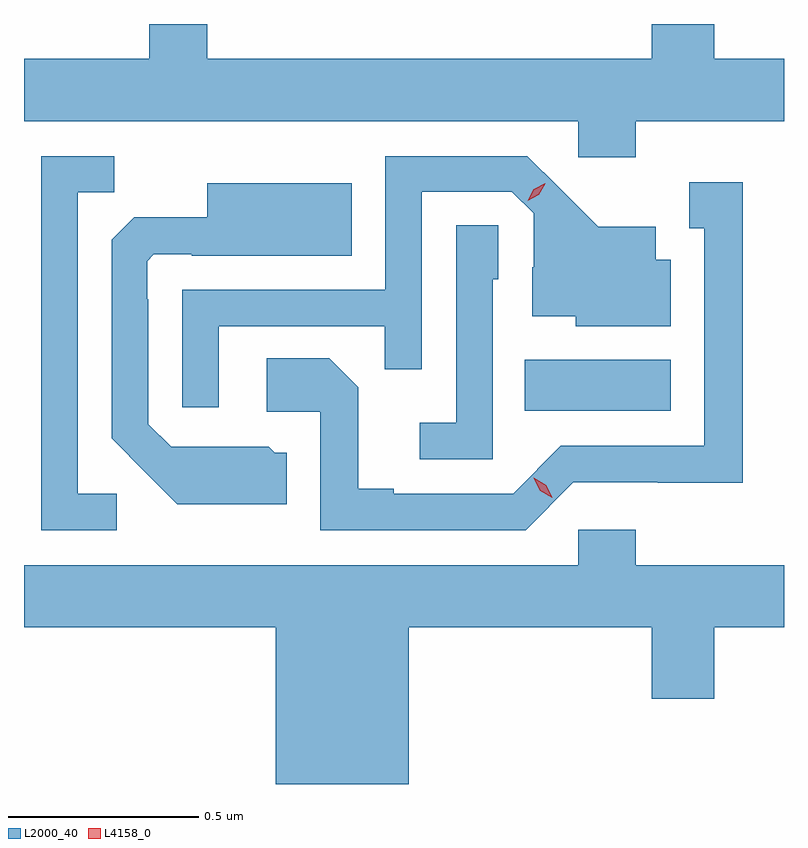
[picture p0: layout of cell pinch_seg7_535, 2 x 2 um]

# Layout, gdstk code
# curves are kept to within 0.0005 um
import gdstk
lib = gdstk.Library(unit=1e-6, precision=1e-09)
def R(c, l, rs):  # rectangles x0, y0, x1, y1
    for r in rs: c.add(gdstk.rectangle(r[:2], r[2:], *l))
def P(c, l, *ps):  # polygons
    for p in ps: c.add(gdstk.Polygon(p, *l))
L2000_40 = (2000, 40)
L4158_0 = (4158, 0)

pinch_seg7_535 = lib.new_cell('pinch_seg7_535')
R(pinch_seg7_535, L2000_40, [(116.722,1075.778,117.106,1075.912)])
P(pinch_seg7_535, L2000_40, [(117.014,1076.54),(117.404,1076.54),(117.404,1076.704),(117.22,1076.704),(117.22,1076.796),(117.056,1076.796),(117.056,1076.704),(115.886,1076.704),(115.886,1076.796),(115.734,1076.796),(115.734,1076.704),(115.404,1076.704),(115.404,1076.54),(116.862,1076.54),(116.862,1076.445),(117.014,1076.445)],
  [(115.917,1076.001),(116.353,1076.001),(116.353,1075.888),(116.451,1075.888),(116.451,1076.355),(116.688,1076.355),(116.745,1076.298),(116.745,1076.156),(116.741,1076.156),(116.741,1076.027),(116.856,1076.027),(116.856,1076),(117.106,1076),(117.106,1076.176),(117.067,1076.176),(117.067,1076.263),(116.915,1076.263),(116.728,1076.448),(116.355,1076.448),(116.355,1076.097),(115.821,1076.097),(115.821,1075.788),(115.917,1075.788)],
  [(115.648,1075.56),(115.545,1075.56),(115.545,1076.353),(115.641,1076.353),(115.641,1076.448),(115.449,1076.448),(115.449,1075.464),(115.648,1075.464)],
  [(116.85,1075.59),(117.072,1075.59),(117.072,1075.589),(117.295,1075.589),(117.295,1076.38),(117.155,1076.38),(117.155,1076.259),(117.194,1076.259),(117.194,1075.686),(116.817,1075.686),(116.691,1075.56),(116.377,1075.56),(116.377,1075.573),(116.283,1075.573),(116.283,1075.84),(116.207,1075.916),(116.043,1075.916),(116.043,1075.776),(116.184,1075.776),(116.184,1075.464),(116.724,1075.464)],
  [(116.095,1075.668),(116.064,1075.668),(116.048,1075.684),(115.914,1075.684),(115.914,1075.683),(115.791,1075.683),(115.731,1075.743),(115.731,1076.072),(115.728,1076.072),(115.728,1076.172),(115.746,1076.19),(115.846,1076.19),(115.846,1076.186),(116.266,1076.186),(116.266,1076.377),(115.886,1076.377),(115.886,1076.287),(115.694,1076.287),(115.635,1076.228),(115.635,1075.706),(115.807,1075.532),(116.095,1075.532)],
  [(116.637,1076.124),(116.652,1076.124),(116.652,1076.267),(116.541,1076.267),(116.541,1075.747),(116.445,1075.747),(116.445,1075.65),(116.637,1075.65)],
  [(116.416,1075.208),(117.056,1075.208),(117.056,1075.02),(117.22,1075.02),(117.22,1075.208),(117.404,1075.208),(117.404,1075.372),(117.014,1075.372),(117.014,1075.465),(116.862,1075.465),(116.862,1075.372),(115.404,1075.372),(115.404,1075.208),(116.066,1075.208),(116.066,1074.796),(116.416,1074.796)])
P(pinch_seg7_535, L4158_0, [(116.794,1075.549),(116.763,1075.568),(116.746,1075.601),(116.746,1075.602),(116.746,1075.602),(116.778,1075.582),(116.794,1075.549),(116.794,1075.549)],
  [(116.729,1076.331),(116.729,1076.331),(116.745,1076.361),(116.776,1076.377),(116.776,1076.377),(116.776,1076.376),(116.759,1076.347),(116.729,1076.331)])

lib.write_gds('pinch_seg7_535.gds')
